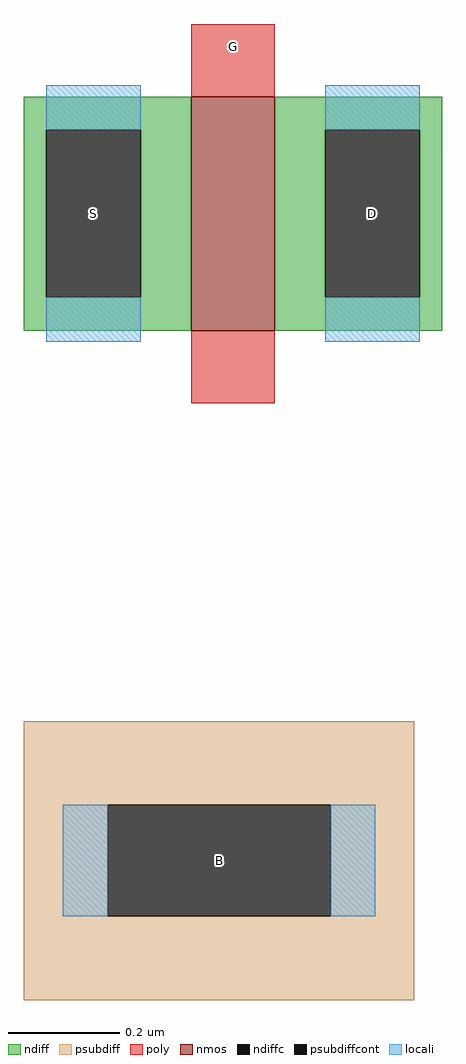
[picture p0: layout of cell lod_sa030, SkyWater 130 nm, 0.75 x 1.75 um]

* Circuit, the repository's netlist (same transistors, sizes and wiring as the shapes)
* NGSPICE file created from lod_sa030.ext - technology: sky130A

.subckt lod_sa030 S D G B
X0 D G S B sky130_fd_pr__nfet_01v8 ad=0.126 pd=1.44 as=0.126 ps=1.44 w=0.42 l=0.15
.ends

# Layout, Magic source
magic
tech sky130A
<< nmos >>
rect 30 0 45 42
<< ndiff >>
rect 0 36 30 42
rect 0 6 4 36
rect 21 6 30 36
rect 0 0 30 6
rect 45 36 75 42
rect 45 6 54 36
rect 71 6 75 36
rect 45 0 75 6
<< ndiffc >>
rect 4 6 21 36
rect 54 6 71 36
<< psubdiff >>
rect 0 -85 70 -70
rect 0 -105 15 -85
rect 55 -105 70 -85
rect 0 -120 70 -105
<< psubdiffcont >>
rect 15 -105 55 -85
<< poly >>
rect 30 42 45 55
rect 30 -13 45 0
<< locali >>
rect 4 36 21 44
rect 4 -2 21 6
rect 54 36 71 44
rect 54 -2 71 6
rect 7 -105 15 -85
rect 55 -105 63 -85
<< labels >>
flabel locali 4 6 21 36 0 FreeSans 160 0 0 0 S
port 1 nsew
flabel locali 54 6 71 36 0 FreeSans 160 0 0 0 D
port 2 nsew
flabel poly 30 47 45 55 0 FreeSans 160 0 0 0 G
port 3 nsew
flabel locali 7 -105 63 -85 0 FreeSans 160 0 0 0 B
port 4 nsew
<< end >>
